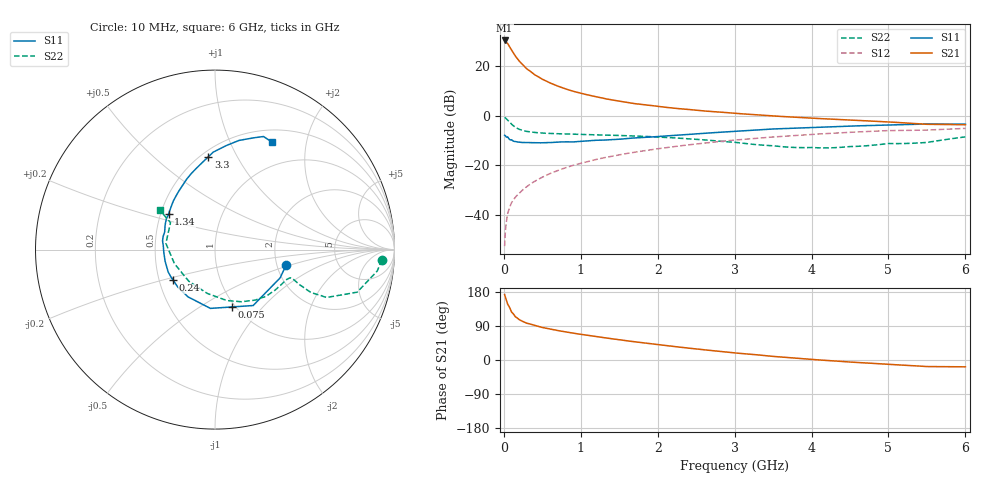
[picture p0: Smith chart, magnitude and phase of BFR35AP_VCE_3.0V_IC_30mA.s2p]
! Infineon Technologies  Discrete & RF Semiconductors
! BFR35AP
! VCE =  3.0 V,  IC =  30 mA
! Common Emitter S-Parameters:  Nov 2015
# GHz  S  MA  R  50
!  f  S11  S21  S12  S22
! GHz  MAG  ANG  MAG  ANG  MAG  ANG  MAG  ANG
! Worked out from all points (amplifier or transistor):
!   210 points, 10 MHz to 6 GHz, reference 50 ohm
!   highest |S21| = 30.5 dB at 10 MHz (marker M1)
!   |S21| within 3 dB of that: start of sweep to 82.41 MHz
!   unconditionally stable (mu >= 1): 223.2 MHz to 3.919 GHz; 5.178 GHz to end of sweep
!   at 185 MHz: K = 0.93, MSG = 27.3 dB, |S12| = -31.8 dB
!   at 1.52 GHz: K = 1.18, MAG = 8.2 dB, |S12| = -15.7 dB
!   at 6 GHz: K = 1.01, MAG = 0.0 dB, |S12| = -5.1 dB
!   S11 on the Smith chart (normalised r, x): 10 MHz: 2.24, -0.46; 75 MHz: 0.96, -0.69; 240 MHz: 0.59, -0.22; 1.34 GHz: 0.55, +0.25; 3.3 GHz: 0.54, +0.77; 6 GHz: 0.66, +1.46
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0.01  0.4053 -12.3  33.65 172.6  0.0023 87.2  0.9314 -3.5
0.02  0.3957 -23.4  32.87 165.4  0.0046 76.9  0.9119 -7.5
0.05  0.3772 -55.7  29.06 147.1  0.0105 73.3  0.8266 -16.7
0.075  0.3331 -73.7  24.92 138.4  0.0139 69.2  0.7505 -19.6
0.1  0.3286 -94.4  21.55 126.7  0.0174 66.7  0.6767 -23.2
0.15  0.3033 -119.6  16.18 114.1  0.0226 65.7  0.5848 -24.1
0.2  0.2944 -134.3  12.87 106.5  0.0271 68.1  0.5346 -23.1
0.24  0.2893 -143.7  11.02 102.4  0.0311 68.8  0.5092 -22.5
0.3  0.2891 -154.5  8.924 97.0  0.0371 70.7  0.4839 -21.5
0.4  0.2854 -166.7  6.818 91.1  0.0472 72.0  0.4614 -20.5
0.5  0.2853 -175.4  5.52 85.8  0.0573 72.9  0.4479 -20.5
0.6  0.2876 177.1  4.648 81.7  0.0678 72.5  0.4403 -21.3
0.7  0.2961 170.6  4.008 77.6  0.0781 72.6  0.4353 -22.2
0.88  0.2972 161.7  3.22 71.5  0.0974 71.5  0.4264 -24.3
1.02  0.3076 154.8  2.822 67.2  0.1116 70.9  0.4213 -26.5
1.34  0.3263 142.3  2.195 57.9  0.1458 68.0  0.4074 -32.2
2.02  0.3837 121.6  1.546 40.3  0.2178 60.7  0.371 -46.8
3.1  0.4967 97.3  1.099 17.0  0.333 46.8  0.2799 -80.7
3.3  0.519 94.1  1.045 13.5  0.353 43.9  0.2602 -89.8
4.1  0.5909 82.4  0.883 0.1  0.4302 32.7  0.2253 -136.3
5.1  0.6584 71.0  0.739 -12.6  0.5051 17.2  0.2745 168.0
6  0.678 61.9  0.662 -18.0  0.5579 6.3  0.3759 144.5
